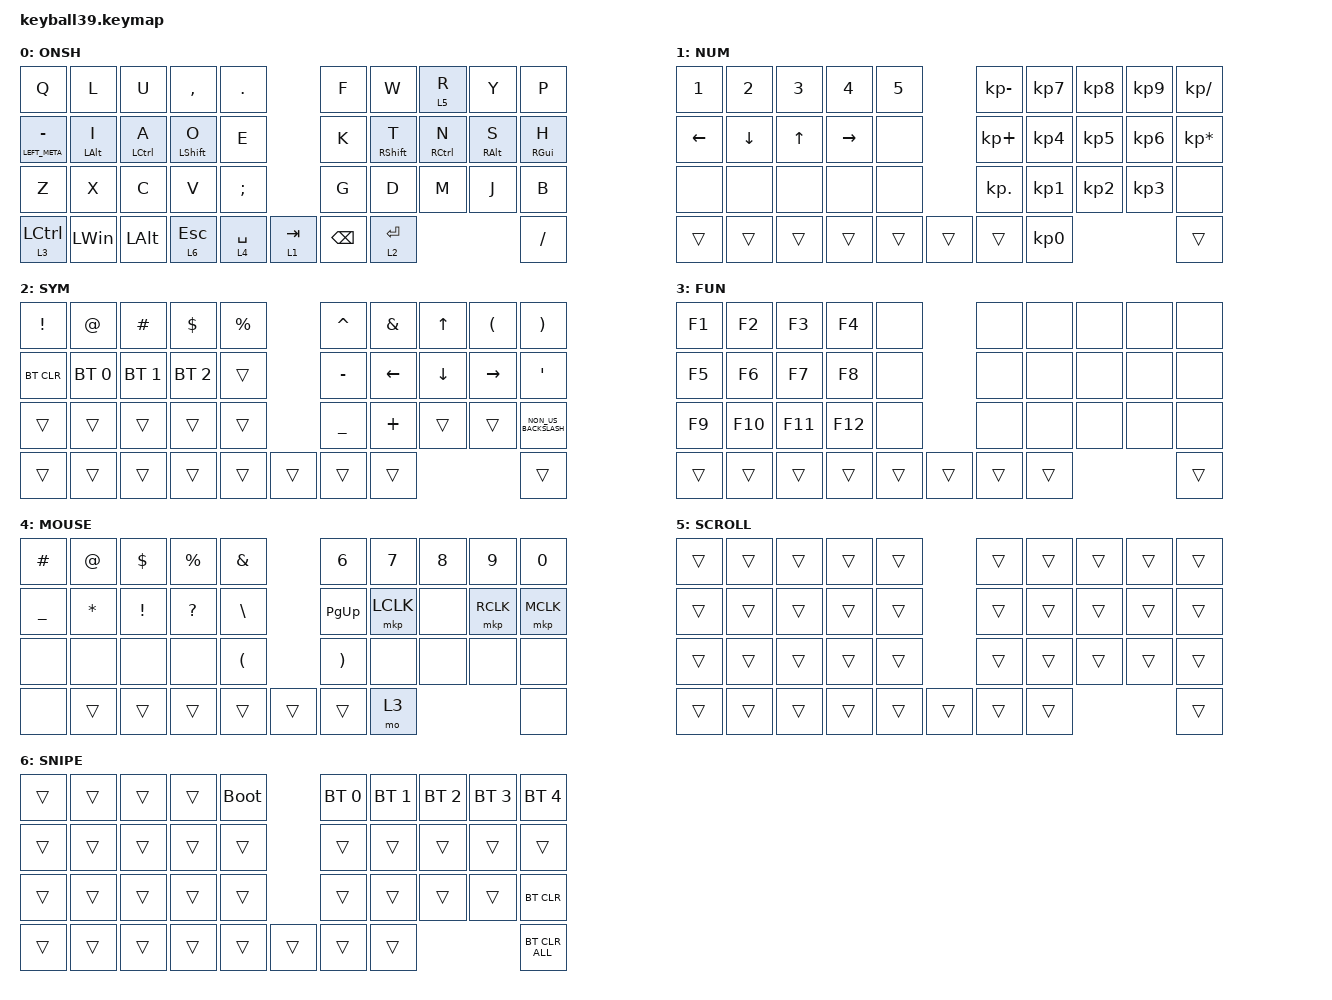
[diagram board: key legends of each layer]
#define DEFAULT 0
#define NUM     1
#define SYM     2
#define FUN     3
#define MOUSE   4
#define SCROLL  5
#define SNIPE   6

#include <behaviors/mouse_keys.dtsi>
#include <dt-bindings/zmk/mouse.h>
#include <behaviors.dtsi>
#include <dt-bindings/zmk/bt.h>
#include <dt-bindings/zmk/keys.h>
#include <dt-bindings/zmk/pointing.h>

&lt {
    tapping-term-ms = <240>;
    flavor = "balanced";
    quick-tap-ms = <150>;
};

&mt {
    tapping-term-ms = <200>;
    flavor = "tap-preferred";
    quick-tap-ms = <150>;
};

&caps_word { continue-list = <UNDERSCORE MINUS>; };

/ {
    // custom shift using mod-morph 

    behaviors {
        cmqus: comma_question {
            compatible = "zmk,behavior-mod-morph";
            label = "COMMA_QUESTION";
            #binding-cells = <0>;
            bindings = <&kp COMMA>, <&kp QUESTION>;

            mods = <(MOD_LSFT|MOD_RSFT)>;
        };

        dtsmi: dot_semi {
            compatible = "zmk,behavior-mod-morph";
            label = "DOT_SEMI";
            #binding-cells = <0>;
            bindings = <&kp DOT>, <&kp SEMI>;

            mods = <(MOD_LSFT|MOD_RSFT)>;
        };
    };

    macros {
        Hiragana: Hiragana {
            compatible = "zmk,behavior-macro";
            #binding-cells = <0>;
            bindings = <&kp LC(SPACE)>;
            label = "HIRAGANA";
        };
    };

    keymap {
        compatible = "zmk,keymap";

        default_layer {
            label = "ONSH";
            bindings = <
&kp Q                &kp L           &kp U        &kp COMMA         &kp PERIOD                               &kp F        &kp W              &lt 5 R      &kp Y            &kp P
&mt LEFT_META MINUS  &mt LEFT_ALT I  &mt LCTRL A  &mt LEFT_SHIFT O  &kp E                                    &kp K        &mt RIGHT_SHIFT T  &mt RCTRL N  &mt RIGHT_ALT S  &mt RIGHT_GUI H
&kp Z                &kp X           &kp C        &kp V             &kp SEMICOLON                            &kp G        &kp D              &kp M        &kp J            &kp B
&lt 3 LCTRL          &kp LEFT_WIN    &kp LALT     &lt 6 ESCAPE      &lt 4 SPACE    &lt 1 TAB  &kp BACKSPACE  &lt 2 ENTER                                                   &kp SLASH
            >;
        };

        number_layer {
            label = "NUM";
            bindings = <
&kp NUMBER_1  &kp NUMBER_2  &kp NUMBER_3  &kp NUMBER_4  &kp NUMBER_5                  &kp KP_MINUS     &kp KP_NUMBER_7  &kp KP_NUMBER_8  &kp KP_NUMBER_9  &kp KP_SLASH
&kp LEFT      &kp DOWN      &kp UP_ARROW  &kp RIGHT     &none                         &kp KP_PLUS      &kp KP_NUMBER_4  &kp KP_NUMBER_5  &kp KP_NUMBER_6  &kp KP_ASTERISK
&none         &none         &none         &none         &none                         &kp KP_DOT       &kp KP_NUMBER_1  &kp KP_NUMBER_2  &kp KP_NUMBER_3  &none
&trans        &trans        &trans        &trans        &trans        &trans  &trans  &kp KP_NUMBER_0                                                     &trans
            >;
        };

        symbol_layer {
            label = "SYM";
            bindings = <
&kp EXCLAMATION  &kp AT_SIGN   &kp HASH      &kp DOLLAR    &kp PERCENT                  &kp CARET       &kp AMPERSAND  &kp UP_ARROW  &kp LEFT_PARENTHESIS  &kp RIGHT_PARENTHESIS
&bt BT_CLR       &bt BT_SEL 0  &bt BT_SEL 1  &bt BT_SEL 2  &trans                       &kp MINUS       &kp LEFT       &kp DOWN      &kp RIGHT             &kp SQT
&trans           &trans        &trans        &trans        &trans                       &kp UNDERSCORE  &kp PLUS       &trans        &trans                &kp NON_US_BACKSLASH
&trans           &trans        &trans        &trans        &trans       &trans  &trans  &trans                                                             &trans
            >;
        };

        function_layer {
            label = "FUN";
            bindings = <
&kp F1  &kp F2   &kp F3   &kp F4   &none                   &none   &none  &none  &none  &none
&kp F5  &kp F6   &kp F7   &kp F8   &none                   &none   &none  &none  &none  &none
&kp F9  &kp F10  &kp F11  &kp F12  &none                   &none   &none  &none  &none  &none
&trans  &trans   &trans   &trans   &trans  &trans  &trans  &trans                       &trans
            >;
        };

        mouse_layer {
            label = "MOUSE";
            bindings = <
&kp HASH        &kp AT        &kp DOLLAR       &kp PERCENT   &kp AMPERSAND                         &kp N6                 &kp N7     &kp N8  &kp N9     &kp N0
&kp UNDERSCORE  &kp ASTERISK  &kp EXCLAMATION  &kp QUESTION  &kp BACKSLASH                         &kp PAGE_UP            &mkp LCLK  &none   &mkp RCLK  &mkp MCLK
&none           &none         &none            &none         &kp LEFT_PARENTHESIS                  &kp RIGHT_PARENTHESIS  &none      &none   &none      &none
&none           &trans        &trans           &trans        &trans                &trans  &trans  &mo 3                                                &none
            >;
        };

        scroll_layer {
            label = "SCROLL";
            bindings = <
&trans  &trans  &trans  &trans  &trans                  &trans  &trans  &trans  &trans  &trans
&trans  &trans  &trans  &trans  &trans                  &trans  &trans  &trans  &trans  &trans
&trans  &trans  &trans  &trans  &trans                  &trans  &trans  &trans  &trans  &trans
&trans  &trans  &trans  &trans  &trans  &trans  &trans  &trans                          &trans
            >;
        };

        snipe_layer {
            label = "SNIPE";
            bindings = <
&trans  &trans  &trans  &trans  &bootloader                  &bt BT_SEL 0  &bt BT_SEL 1  &bt BT_SEL 2  &bt BT_SEL 3  &bt BT_SEL 4
&trans  &trans  &trans  &trans  &trans                       &trans        &trans        &trans        &trans        &trans
&trans  &trans  &trans  &trans  &trans                       &trans        &trans        &trans        &trans        &bt BT_CLR
&trans  &trans  &trans  &trans  &trans       &trans  &trans  &trans                                                  &bt BT_CLR_ALL
            >;
        };
    };
};
